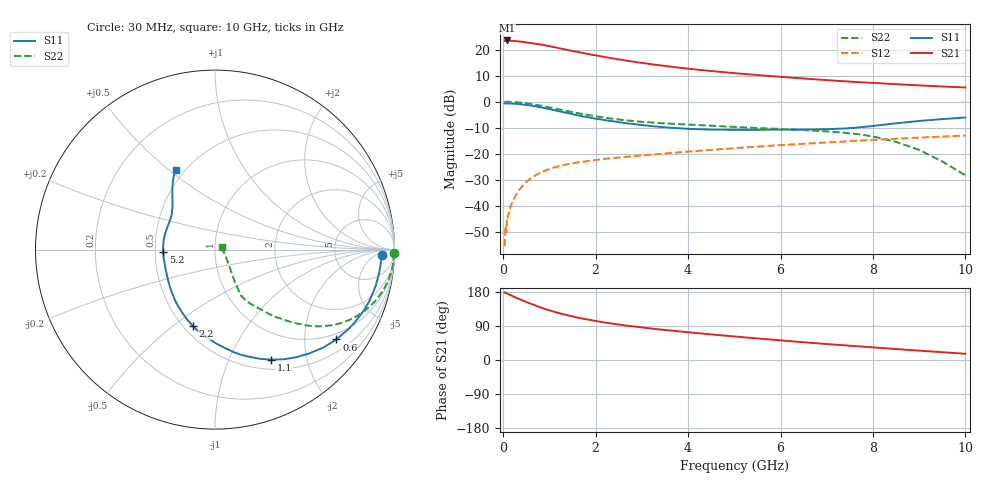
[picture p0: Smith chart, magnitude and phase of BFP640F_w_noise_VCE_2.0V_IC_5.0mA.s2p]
! Infineon Technologies  Discrete & RF Semiconductors
! BFP640F
! VCE =  2.0 V,  IC =  5.0 mA
! Common Emitter S-Parameters:  Apr 2013
# GHz  S  MA  R  50
!  f  S11  S21  S12  S22
! GHz  MAG  ANG  MAG  ANG  MAG  ANG  MAG  ANG
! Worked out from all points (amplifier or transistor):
!   99 points, 30 MHz to 10 GHz, reference 50 ohm
!   highest |S21| = 23.5 dB at 80 MHz (marker M1)
!   |S21| within 3 dB of that: start of sweep to 1.217 GHz
!   unconditionally stable (mu >= 1): 4.309 GHz to end of sweep
!   at 350 MHz: K = 0.09, MSG = 28.4 dB, |S12| = -33.7 dB
!   at 3.5 GHz: K = 0.93, MSG = 16.8 dB, |S12| = -19.9 dB
!   at 10 GHz: K = 1.11, MAG = 7.2 dB, |S12| = -13.0 dB
!   lowest NFmin = 0.52 dB at 450 MHz
!   S11 on the Smith chart (normalised r, x): 30 MHz: 23, -10; 600 MHz: 0.82, -2.82; 1.1 GHz: 0.62, -1.44; 2.2 GHz: 0.56, -0.59; 5.2 GHz: 0.55, -0.01; 10 GHz: 0.45, +0.53
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0.03  0.9294 -1.8  14.73 178.2  0.0017 100.5  0.9981 -1.1
0.04  0.9286 -2.5  14.69 177.7  0.0023 96.1  0.998 -1.4
0.05  0.9293 -3.1  14.87 177.3  0.0041 88.7  1 -1.8
0.07  0.9266 -4.4  14.85 175.9  0.0032 71.4  0.996 -2.6
0.08  0.9255 -5.0  14.92 175.4  0.0058 87.5  0.9969 -3.1
0.2  0.9178 -12.6  14.68 168.7  0.0121 83.7  0.9887 -7.7
0.4  0.887 -24.8  14.14 158.0  0.0232 79.3  0.9544 -15.1
0.6  0.8413 -36.5  13.33 148.2  0.0341 72.4  0.9041 -21.9
0.8  0.7805 -47.9  12.57 139.0  0.0435 67.3  0.8434 -27.8
1.1  0.688 -63.0  11.13 127.3  0.0548 60.4  0.7449 -34.9
1.4  0.6042 -76.1  9.762 117.8  0.0634 55.6  0.6564 -40.0
1.7  0.5291 -88.2  8.673 109.7  0.0702 52.3  0.584 -43.6
2  0.472 -99.0  7.732 103.0  0.0764 50.0  0.5262 -46.6
2.2  0.444 -106.0  7.181 98.9  0.0801 48.7  0.4946 -48.5
2.7  0.3831 -120.9  6.064 90.4  0.0885 46.4  0.4354 -51.5
3.4  0.3288 -139.2  4.966 80.5  0.0999 44.6  0.3879 -54.8
4.2  0.2972 -157.5  4.114 70.9  0.1139 42.9  0.3576 -57.0
5.1  0.2891 -175.9  3.469 61.1  0.1303 40.6  0.3262 -59.0
5.2  0.2892 -177.7  3.408 60.1  0.1321 40.3  0.3223 -59.0
6.7  0.293 154.8  2.704 44.9  0.1596 35.4  0.2795 -60.6
8.5  0.3846 128.2  2.168 28.9  0.195 28.7  0.1697 -55.6
10  0.4971 116.2  1.87 16.4  0.2248 22.0  0.0387 17.7
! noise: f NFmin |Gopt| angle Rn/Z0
0.45  0.52  0.39  9  0.12
0.9  0.54  0.39  20  0.12
1.5  0.58  0.37  28  0.13
1.9  0.6  0.35  43  0.13
2.4  0.65  0.32  59  0.14
3.5  0.75  0.26  79  0.15
5.5  0.99  0.21  151  0.17
10  1.71  0.44  -104  0.36
